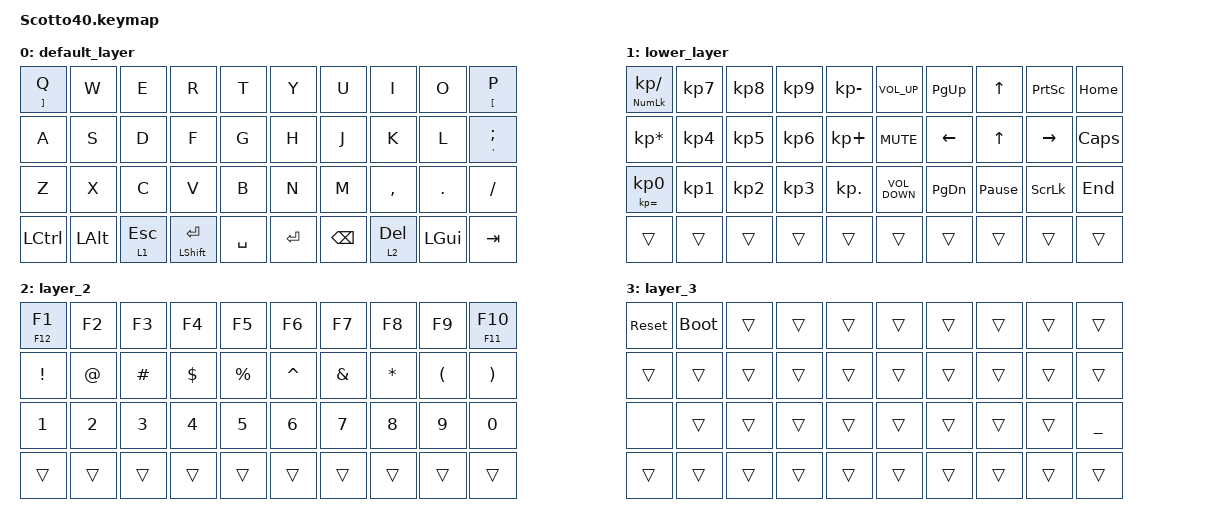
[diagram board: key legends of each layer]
#include <behaviors.dtsi>
#include <dt-bindings/zmk/keys.h>

&lt {
};

&mt {
};

/ {
    combos {
        compatible = "zmk,combos";

        language {
            bindings = <&kp LA(LSHFT)>;
            key-positions = <39 38>;
        };
    };

    keymap {
        compatible = "zmk,keymap";

        default_layer {
            // Слой 0: QWERTY (4 строки по 10 клавиш)

            bindings = <
  &mt RIGHT_BRACKET Q  &kp W     &kp E         &kp R                 &kp T      &kp Y      &kp U          &kp I      &kp O     &mt LEFT_BRACKET P
  &kp A                &kp S     &kp D         &kp F                 &kp G      &kp H      &kp J          &kp K      &kp L     &mt SQT SEMICOLON
  &kp Z                &kp X     &kp C         &kp V                 &kp B      &kp N      &kp M          &kp COMMA  &kp DOT   &kp SLASH
  &kp LCTRL            &kp LALT  &lt 1 ESCAPE  &mt LEFT_SHIFT ENTER  &kp SPACE  &kp ENTER  &kp BACKSPACE  &lt 2 DEL  &kp LGUI  &kp TAB
            >;
        };

        lower_layer {
            // Слой 1: Цифры и навигация (активируется зажатием клавиши `mo 1`)

            bindings = <
  &mt KP_NUM KP_SLASH       &kp KP_NUMBER_7  &kp KP_NUMBER_8  &kp KP_NUMBER_9  &kp KP_MINUS  &kp C_VOLUME_UP    &kp PG_UP       &kp UP_ARROW     &kp PSCRN       &kp HOME
  &kp KP_MULTIPLY           &kp KP_NUMBER_4  &kp KP_NUMBER_5  &kp KP_NUMBER_6  &kp KP_PLUS   &kp K_MUTE         &kp LEFT_ARROW  &kp UP           &kp RIGHT       &kp CAPSLOCK
  &mt KP_EQUAL KP_NUMBER_0  &kp KP_NUMBER_1  &kp KP_NUMBER_2  &kp KP_NUMBER_3  &kp KP_DOT    &kp C_VOLUME_DOWN  &kp PAGE_DOWN   &kp PAUSE_BREAK  &kp SCROLLLOCK  &kp END
  &trans                    &trans           &trans           &trans           &trans        &trans             &trans          &trans           &trans          &trans
            >;
        };

        layer_2 {
            bindings = <
  &mt F12 F1       &kp F2        &kp F3        &kp F4        &kp F5       &kp F6        &kp F7         &kp F8        &kp F9                &mt F11 F10
  &kp EXCLAMATION  &kp AT_SIGN   &kp HASH      &kp DOLLAR    &kp PERCENT  &kp CARET     &kp AMPERSAND  &kp ASTERISK  &kp LEFT_PARENTHESIS  &kp RIGHT_PARENTHESIS
  &kp NUMBER_1     &kp NUMBER_2  &kp NUMBER_3  &kp NUMBER_4  &kp N5       &kp NUMBER_6  &kp N7         &kp N8        &kp N9                &kp N0
  &trans           &trans        &trans        &trans        &trans       &trans        &trans         &trans        &trans                &trans
            >;
        };

        layer_3 {
            bindings = <
  &sys_reset  &bootloader  &trans  &trans  &trans  &trans  &trans  &trans  &trans  &trans
  &trans      &trans       &trans  &trans  &trans  &trans  &trans  &trans  &trans  &trans
  &none       &trans       &trans  &trans  &trans  &trans  &trans  &trans  &trans  &kp UNDERSCORE
  &trans      &trans       &trans  &trans  &trans  &trans  &trans  &trans  &trans  &trans
            >;
        };
    };

    conditional_layers {
        compatible = "zmk,conditional-layers";

        layer3 {
            if-layers = <1 2>;
            then-layer = <3>;
        };
    };
};
